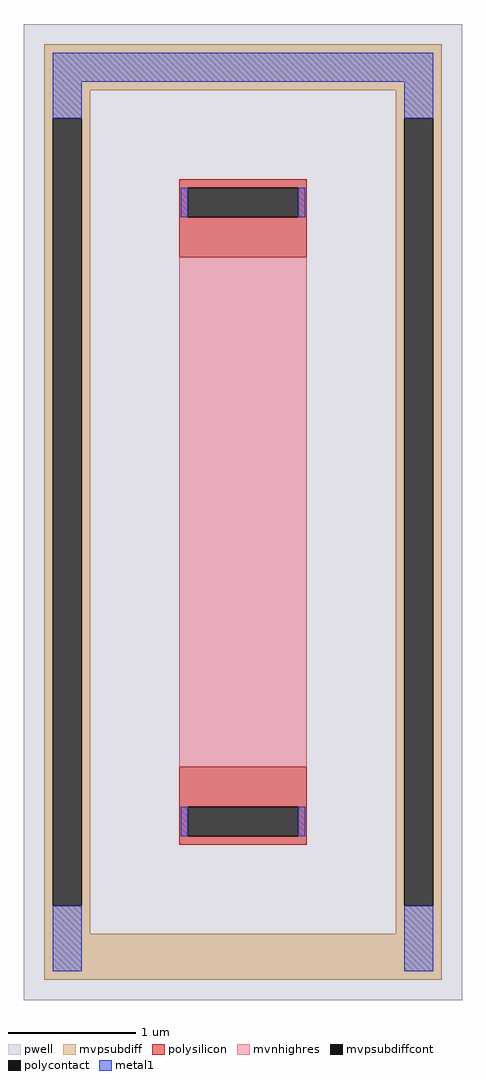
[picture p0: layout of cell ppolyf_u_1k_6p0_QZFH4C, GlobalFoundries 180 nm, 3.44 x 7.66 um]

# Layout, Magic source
magic
tech gf180mcuD
magscale 1 10
<< pwell >>
rect -344 -766 344 766
<< mvpsubdiff >>
rect -312 662 312 734
rect -312 618 -240 662
rect -312 -618 -299 618
rect -253 -618 -240 618
rect 240 618 312 662
rect -312 -662 -240 -618
rect 240 -618 253 618
rect 299 -618 312 618
rect 240 -662 312 -618
rect -312 -734 312 -662
<< mvpsubdiffcont >>
rect -299 -618 -253 618
rect 253 -618 299 618
<< polysilicon >>
rect -100 509 100 522
rect -100 463 -87 509
rect 87 463 100 509
rect -100 400 100 463
rect -100 -463 100 -400
rect -100 -509 -87 -463
rect 87 -509 100 -463
rect -100 -522 100 -509
<< polycontact >>
rect -87 463 87 509
rect -87 -509 87 -463
<< mvnhighres >>
rect -100 -400 100 400
<< metal1 >>
rect -299 675 299 721
rect -299 618 -253 675
rect 253 618 299 675
rect -98 463 -87 509
rect 87 463 98 509
rect -98 -509 -87 -463
rect 87 -509 98 -463
rect -299 -721 -253 -618
rect 253 -721 299 -618
<< properties >>
string FIXED_BBOX -276 -698 276 698
string gencell ppolyf_u_1k_6p0
string library gf180mcu
string parameters w 1.0 l 4.0 m 1 nx 1 wmin 1.000 lmin 1.000 class resistor rho 1000 val 4.0k dummy 0 dw 0.0 term 0.0 sterm 0.0 caplen 0.4 snake 0 glc 1 grc 1 gtc 0 gbc 0 roverlap 0 endcov 100 full_metal 1 compatible {ppolyf_u_1k ppolyf_u_1k_6p0}
<< end >>
